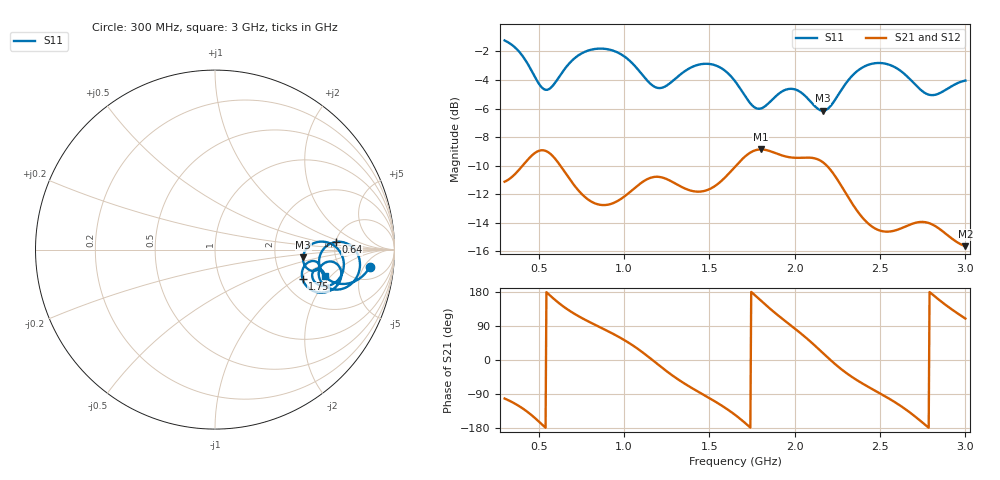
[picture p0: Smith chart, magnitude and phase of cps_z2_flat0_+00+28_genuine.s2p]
! cps_z2_flat0_+00+28_genuine
! simulated by sim/fixtures_fdtd.py (S12 = S21, S22 not computed)
# HZ S RI R 50
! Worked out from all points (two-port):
!   541 points, 300 MHz to 3 GHz, reference 50 ohm
!   highest |S21| = -8.86 dB at 1.8 GHz (marker M1); lowest = -15.6 dB at 3 GHz (marker M2)
!   |S21| within 3 dB of the highest: start of sweep to 742.2 MHz; 1.033 GHz to 2.296 GHz (1.263 GHz wide, 75.9 % of centre)
!   lowest |S11| = -6.2 dB at 2.165 GHz (marker M3), VSWR 2.94, Z = 145 - j16.5 ohm
!   |S11| at or under -10 dB: nowhere
!   |S22| runs from - to - dB; largest |S21 - S12| = 0
!   S11 on the Smith chart (normalised r, x): 300 MHz: 9, -7; 640 MHz: 5.01, +0.78; 1.75 GHz: 2.54, -1.14; 3 GHz: 3.49, -1.71
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3e8  0.8628 -0.097  -0.0561 -0.2723  -0.0561 -0.2723  0 0
4.2e8  0.7188 -0.1914  -0.2178 -0.2397  -0.2178 -0.2397  0 0
5.15e8  0.5871 -0.1083  -0.3508 -0.0723  -0.3508 -0.0723  0 0
6.4e8  0.6728 0.0425  -0.2449 0.187  -0.2449 0.187  0 0
7.5e8  0.7814 -0.00307  -0.092 0.2351  -0.092 0.2351  0 0
8.9e8  0.8012 -0.127  0.0419 0.2265  0.0419 0.2265  0 0
1.03e9  0.7065 -0.2193  0.1809 0.1789  0.1809 0.1789  0 0
1.2e9  0.5781 -0.1261  0.2826 -0.0613  0.2826 -0.0613  0 0
1.395e9  0.6928 -0.0959  0.0738 -0.2475  0.0738 -0.2475  0 0
1.52e9  0.6898 -0.187  -0.0728 -0.2554  -0.0728 -0.2554  0 0
1.65e9  0.5778 -0.239  -0.2556 -0.1816  -0.2556 -0.1816  0 0
1.75e9  0.4878 -0.1646  -0.354 0.0145  -0.354 0.0145  0 0
1.8e9  0.4897 -0.1069  -0.3326 0.1394  -0.3326 0.1394  0 0
1.945e9  0.5775 -0.0799  -0.0738 0.3328  -0.0738 0.3328  0 0
2.1e9  0.5138 -0.1054  0.2366 0.24  0.2366 0.24  0 0
2.165e9  0.4906 -0.0432  0.3085 0.1028  0.3085 0.1028  0 0
2.315e9  0.6301 0.0389  0.1914 -0.1519  0.1914 -0.1519  0 0
2.43e9  0.7117 -0.0445  0.0657 -0.1873  0.0657 -0.1873  0 0
2.55e9  0.6987 -0.1522  -0.0359 -0.1824  -0.0359 -0.1824  0 0
2.665e9  0.6114 -0.2032  -0.1388 -0.1377  -0.1388 -0.1377  0 0
2.775e9  0.5423 -0.1538  -0.1993 -0.0174  -0.1993 -0.0174  0 0
3e9  0.6105 -0.1483  -0.0548 0.156  -0.0548 0.156  0 0
